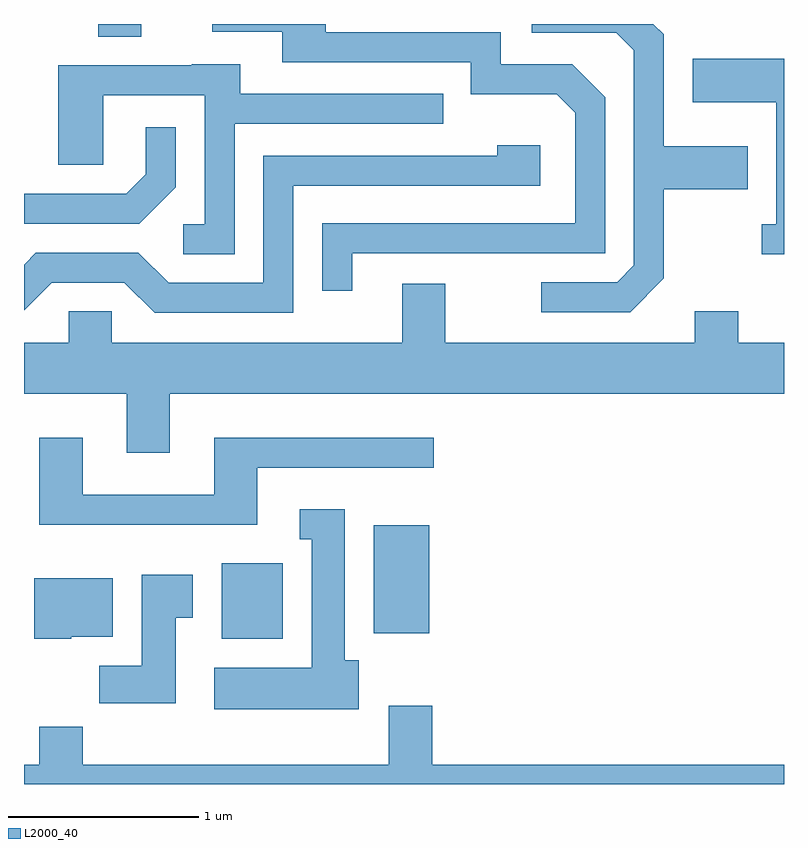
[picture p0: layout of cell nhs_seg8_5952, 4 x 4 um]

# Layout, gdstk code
import gdstk
lib = gdstk.Library(unit=1e-6, precision=1e-09)
def R(c, l, rs):  # rectangles x0, y0, x1, y1
    for r in rs: c.add(gdstk.rectangle(r[:2], r[2:], *l))
def P(c, l, *ps):  # polygons
    for p in ps: c.add(gdstk.Polygon(p, *l))
L2000_40 = (2000, 40)

nhs_seg8_5952 = lib.new_cell('nhs_seg8_5952')
R(nhs_seg8_5952, L2000_40, [(364.651,1855.106,364.974,1855.504), (365.451,1855.136,365.744,1855.704), (364.001,1858.276,364.229,1858.342)])
P(nhs_seg8_5952, L2000_40, [(365.339,1857.136),(366.669,1857.136),(366.669,1857.957),(366.497,1858.129),(366.119,1858.129),(366.119,1858.299),(365.199,1858.299),(365.199,1858.342),(364.603,1858.342),(364.603,1858.301),(364.971,1858.301),(364.971,1858.141),(365.961,1858.141),(365.961,1857.971),(366.414,1857.971),(366.511,1857.874),(366.511,1857.294),(365.181,1857.294),(365.181,1856.938),(365.339,1856.938)],
  [(366.979,1857.004),(366.979,1857.471),(367.419,1857.471),(367.419,1857.699),(366.979,1857.699),(366.979,1858.287),(366.924,1858.342),(366.283,1858.342),(366.283,1858.296),(366.729,1858.296),(366.821,1858.204),(366.821,1857.072),(366.734,1856.984),(366.333,1856.984),(366.333,1856.826),(366.802,1856.826)],
  [(367.611,1858.159),(367.131,1858.159),(367.131,1857.931),(367.571,1857.931),(367.571,1857.289),(367.493,1857.289),(367.493,1857.131),(367.611,1857.131)],
  [(364.719,1857.816),(365.818,1857.816),(365.818,1857.974),(364.749,1857.974),(364.749,1858.129),(364.495,1858.129),(364.495,1858.124),(363.791,1858.124),(363.791,1857.601),(364.029,1857.601),(364.029,1857.966),(364.561,1857.966),(364.561,1857.289),(364.448,1857.289),(364.448,1857.131),(364.719,1857.131)],
  [(364.409,1857.484),(364.409,1857.798),(364.251,1857.798),(364.251,1857.552),(364.149,1857.449),(363.611,1857.449),(363.611,1857.291),(364.217,1857.291)],
  [(365.029,1857.491),(366.329,1857.491),(366.329,1857.704),(366.101,1857.704),(366.101,1857.649),(364.871,1857.649),(364.871,1856.979),(364.372,1856.979),(364.212,1857.139),(363.674,1857.139),(363.611,1857.076),(363.611,1856.835),(363.757,1856.981),(364.139,1856.981),(364.299,1856.821),(365.029,1856.821)],
  [(364.379,1856.396),(367.611,1856.396),(367.611,1856.664),(367.369,1856.664),(367.369,1856.829),(367.141,1856.829),(367.141,1856.664),(365.829,1856.664),(365.829,1856.974),(365.601,1856.974),(365.601,1856.664),(364.074,1856.664),(364.074,1856.829),(363.846,1856.829),(363.846,1856.664),(363.611,1856.664),(363.611,1856.396),(364.151,1856.396),(364.151,1856.086),(364.379,1856.086)],
  [(364.839,1856.006),(365.768,1856.006),(365.768,1856.164),(364.611,1856.164),(364.611,1855.864),(363.919,1855.864),(363.919,1856.164),(363.691,1856.164),(363.691,1855.706),(364.839,1855.706)],
  [(365.374,1854.994),(365.299,1854.994),(365.299,1855.789),(365.063,1855.789),(365.063,1855.631),(365.126,1855.631),(365.126,1854.954),(364.611,1854.954),(364.611,1854.736),(365.374,1854.736)],
  [(364.409,1855.216),(364.499,1855.216),(364.499,1855.444),(364.231,1855.444),(364.231,1854.964),(364.006,1854.964),(364.006,1854.766),(364.409,1854.766)],
  [(363.86,1855.116),(364.079,1855.116),(364.079,1855.424),(363.666,1855.424),(363.666,1855.106),(363.86,1855.106)],
  [(367.611,1854.444),(365.759,1854.444),(365.759,1854.754),(365.531,1854.754),(365.531,1854.444),(363.919,1854.444),(363.919,1854.644),(363.691,1854.644),(363.691,1854.444),(363.611,1854.444),(363.611,1854.342),(367.611,1854.342)])

lib.write_gds('nhs_seg8_5952.gds')
